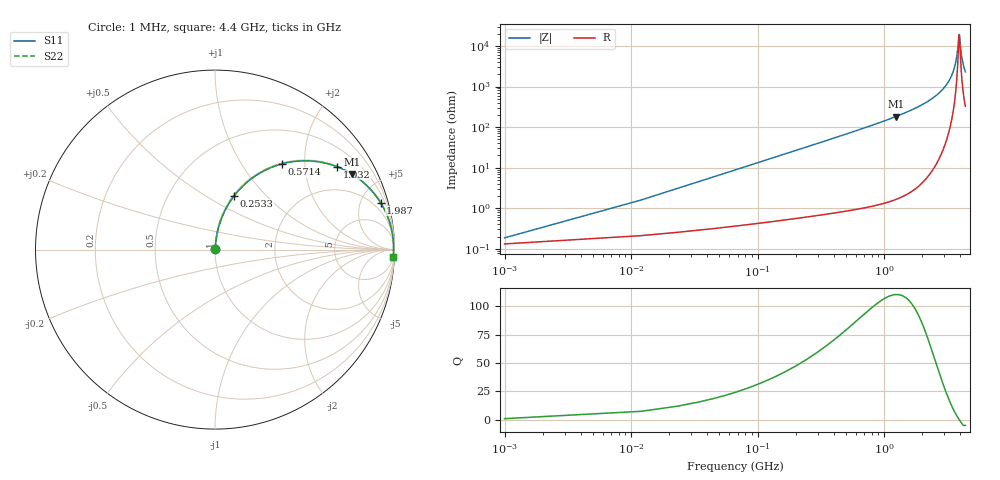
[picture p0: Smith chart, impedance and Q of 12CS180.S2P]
! Coilcraft 1206CS-180 Chip Inductor
! 29 July 2002
# MHZ S MA R 50
!Freq  MagS11  AngS11  MagS21  AngS21  MagS12  AngS12  MagS22  AngS22
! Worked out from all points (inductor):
!   403 points, 1 MHz to 4.4 GHz, reference 50 ohm
!   read as one part in series: L = 21 nH near 22.94 MHz
!   highest Q = 110 at 1.241 GHz (marker M1), where L = 23.3 nH
!   self-resonance near 3.928 GHz
!   S11 on the Smith chart (normalised r, x): 1 MHz: 1.00, +0.00; 253.3 MHz: 1.01, +0.67; 571.4 MHz: 1.02, +1.54; 1.032 GHz: 1.03, +2.93; 1.987 GHz: 1.08, +7.04; 4.4 GHz: 8, -45
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1  0.001865 44.9  0.9987 -0.1  0.9987 -0.1  0.001865 44.9
33.91  0.04467 83.8  0.9961 -2.6  0.9961 -2.6  0.04467 83.8
66.82  0.08761 82.6  0.9926 -5.0  0.9926 -5.0  0.08761 82.6
143.61  0.1856 77.8  0.9779 -10.7  0.9779 -10.7  0.1856 77.8
253.31  0.3165 70.5  0.9428 -18.4  0.9428 -18.4  0.3165 70.5
395.92  0.464 61.5  0.8792 -27.6  0.8792 -27.6  0.464 61.5
571.44  0.6068 52.0  0.7877 -37.4  0.7877 -37.4  0.6068 52.0
735.99  0.7057 44.5  0.7012 -44.9  0.7012 -44.9  0.7057 44.5
1032.18  0.822 34.2  0.5619 -55.3  0.5619 -55.3  0.822 34.2
1240.61  0.8729 28.7  0.4801 -60.8  0.4801 -60.8  0.8729 28.7
1470.98  0.9111 23.8  0.4038 -65.7  0.4038 -65.7  0.9111 23.8
1986.57  0.959 15.8  0.2725 -73.5  0.2725 -73.5  0.959 15.8
2205.97  0.9704 13.2  0.2285 -76.0  0.2285 -76.0  0.9704 13.2
2940.96  0.99 6.5  0.1125 -81.7  0.1125 -81.7  0.99 6.5
3390.73  0.9941 3.3  0.05722 -82.5  0.05722 -82.5  0.9941 3.3
3675.95  0.995 1.5  0.02639 -78.3  0.02639 -78.3  0.995 1.5
3774.68  0.995 0.9  0.01653 -71.9  0.01653 -71.9  0.995 0.9
3906.32  0.9949 0.2  0.005773 -27.2  0.005773 -27.2  0.9949 0.2
3939.23  0.9948 -0.0  0.005221 6.1  0.005221 6.1  0.9948 -0.0
4059.9  0.9945 -0.7  0.01328 65.2  0.01328 65.2  0.9945 -0.7
4136.69  0.9942 -1.1  0.02009 72.7  0.02009 72.7  0.9942 -1.1
4400  0.9929 -2.5  0.04338 79.4  0.04338 79.4  0.9929 -2.5
